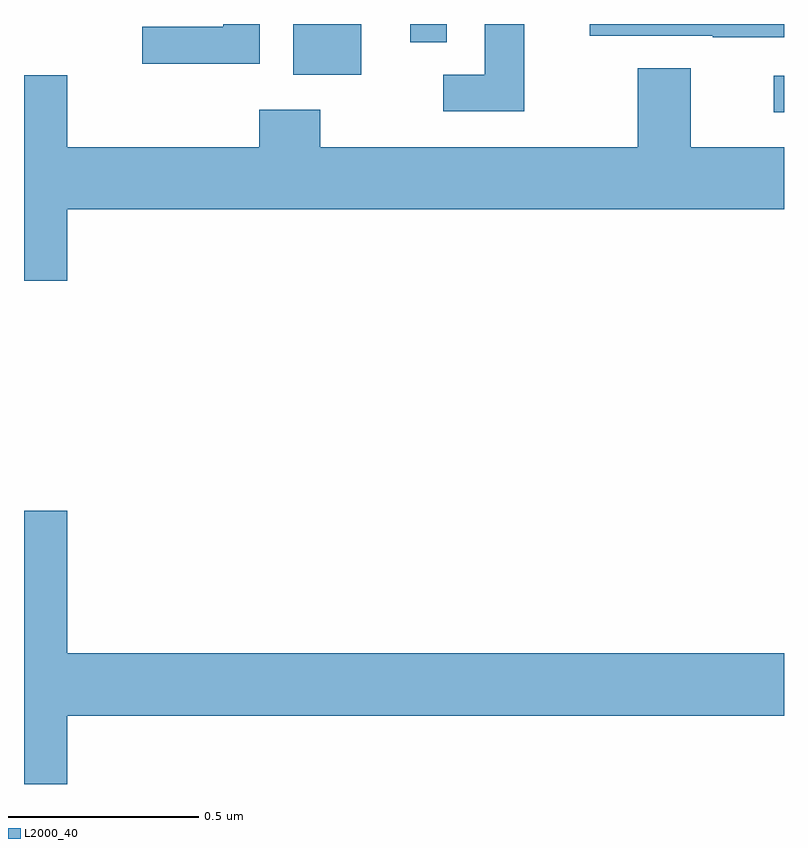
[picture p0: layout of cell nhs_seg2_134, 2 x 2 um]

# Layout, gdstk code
import gdstk
lib = gdstk.Library(unit=1e-6, precision=1e-09)
def R(c, l, rs):  # rectangles x0, y0, x1, y1
    for r in rs: c.add(gdstk.rectangle(r[:2], r[2:], *l))
def P(c, l, *ps):  # polygons
    for p in ps: c.add(gdstk.Polygon(p, *l))
L2000_40 = (2000, 40)

nhs_seg2_134 = lib.new_cell('nhs_seg2_134')
R(nhs_seg2_134, L2000_40, [(113.973,638.568,114,638.664), (112.709,638.666,112.888,638.8), (113.016,638.752,113.112,638.8)])
P(nhs_seg2_134, L2000_40, [(114,638.8),(113.489,638.8),(113.489,638.769),(113.813,638.769),(113.813,638.765),(114,638.765)],
  [(112.62,638.8),(112.524,638.8),(112.524,638.793),(112.311,638.793),(112.311,638.695),(112.62,638.695)],
  [(113.317,638.8),(113.213,638.8),(113.213,638.667),(113.103,638.667),(113.103,638.571),(113.317,638.571)],
  [(112.114,638.312),(114,638.312),(114,638.476),(113.755,638.476),(113.755,638.684),(113.615,638.684),(113.615,638.476),(112.779,638.476),(112.779,638.575),(112.619,638.575),(112.619,638.476),(112.114,638.476),(112.114,638.665),(112,638.665),(112,638.124),(112.114,638.124)],
  [(112.114,636.98),(114,636.98),(114,637.144),(112.114,637.144),(112.114,637.519),(112,637.519),(112,636.8),(112.114,636.8)])

lib.write_gds('nhs_seg2_134.gds')
